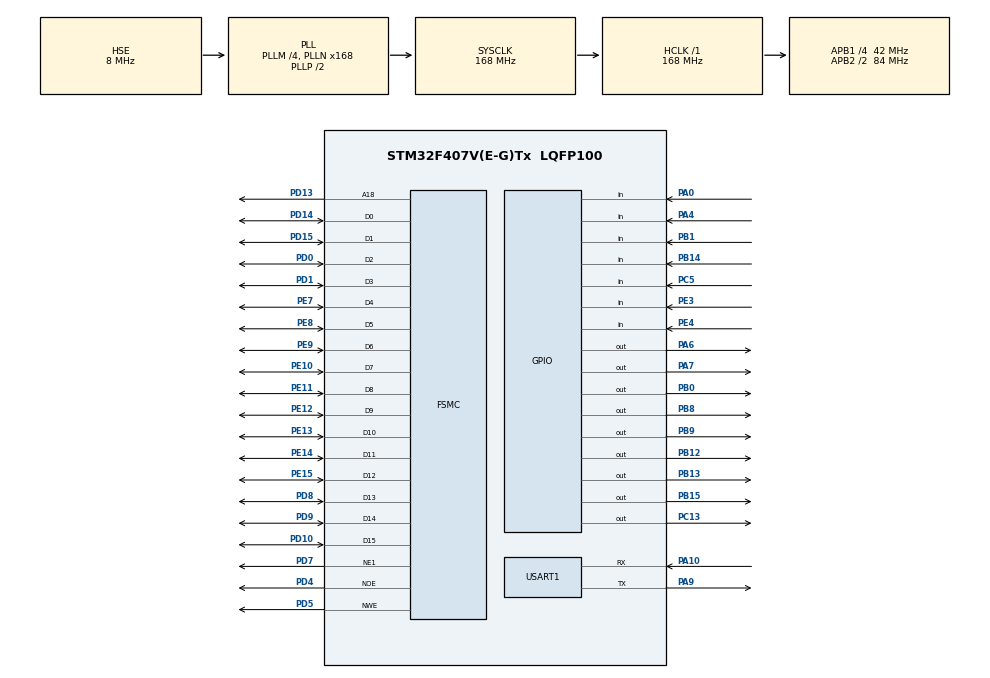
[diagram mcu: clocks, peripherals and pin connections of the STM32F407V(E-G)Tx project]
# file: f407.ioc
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FSMC.BusTurnAroundDuration1=0
FSMC.DataSetupTime1=60
FSMC.ExtendedAddressSetupTime1=9
FSMC.ExtendedBusTurnAroundDuration1=0
FSMC.ExtendedDataSetupTime1=9
FSMC.ExtendedMode1=FSMC_EXTENDED_MODE_ENABLE
Mcu.Family=STM32F4
Mcu.Name=STM32F407V(E-G)Tx
Mcu.Package=LQFP100
NVIC.PriorityGroup=NVIC_PRIORITYGROUP_4
NVIC.TIM6_DAC_IRQn=true\:0\:0\:false\:false\:true\:true\:true\:true
PA0-WKUP.Signal=GPIO_Input
PA10.Mode=Asynchronous
PA10.Signal=USART1_RX
PA13.Mode=Serial_Wire
PA13.Signal=SYS_JTMS-SWDIO
PA14.Mode=Serial_Wire
PA14.Signal=SYS_JTCK-SWCLK
PA4.Signal=GPIO_Input
PA6.Signal=GPIO_Output
PA7.Signal=GPIO_Output
PA9.Mode=Asynchronous
PA9.Signal=USART1_TX
PB0.Signal=GPIO_Output
PB1.Signal=GPIO_Input
PB12.Signal=GPIO_Output
PB13.Signal=GPIO_Output
PB14.Signal=GPIO_Input
PB15.Signal=GPIO_Output
PB8.Signal=GPIO_Output
PB9.Signal=GPIO_Output
PC13-ANTI_TAMP.Signal=GPIO_Output
PC14-OSC32_IN.Mode=LSE-External-Oscillator
PC14-OSC32_IN.Signal=RCC_OSC32_IN
PC15-OSC32_OUT.Mode=LSE-External-Oscillator
PC15-OSC32_OUT.Signal=RCC_OSC32_OUT
PC5.Signal=GPIO_Input
PD0.Mode=16b-d1
PD0.Signal=FSMC_D2
PD1.Mode=16b-d1
PD1.Signal=FSMC_D3
PD10.Mode=16b-d1
PD10.Signal=FSMC_D15
PD13.Mode=A18_1
PD13.Signal=FSMC_A18
PD14.Mode=16b-d1
PD14.Signal=FSMC_D0
PD15.Mode=16b-d1
PD15.Signal=FSMC_D1
PD4.Mode=Lcd1
PD4.Signal=FSMC_NOE
PD5.Mode=Lcd1
PD5.Signal=FSMC_NWE
PD7.Mode=NorPsramChipSelect1_1
PD7.Signal=FSMC_NE1
PD8.Mode=16b-d1
PD8.Signal=FSMC_D13
PD9.Mode=16b-d1
PD9.Signal=FSMC_D14
PE0.Signal=FSMC_NBL0
PE1.Signal=FSMC_NBL1
PE10.Mode=16b-d1
PE10.Signal=FSMC_D7
PE11.Mode=16b-d1
PE11.Signal=FSMC_D8
PE12.Mode=16b-d1
PE12.Signal=FSMC_D9
PE13.Mode=16b-d1
PE13.Signal=FSMC_D10
PE14.Mode=16b-d1
PE14.Signal=FSMC_D11
PE15.Mode=16b-d1
PE15.Signal=FSMC_D12
PE3.Signal=GPIO_Input
PE4.Signal=GPIO_Input
PE7.Mode=16b-d1
PE7.Signal=FSMC_D4
PE8.Mode=16b-d1
PE8.Signal=FSMC_D5
PE9.Mode=16b-d1
PE9.Signal=FSMC_D6
PH0-OSC_IN.Mode=HSE-External-Oscillator
PH0-OSC_IN.Signal=RCC_OSC_IN
PH1-OSC_OUT.Mode=HSE-External-Oscillator
PH1-OSC_OUT.Signal=RCC_OSC_OUT
ProjectManager.HeapSize=0x200
ProjectManager.StackSize=0x1000
ProjectManager.TargetToolchain=MDK-ARM V5.32
RCC.48MHZClocksFreq_Value=84000000
RCC.AHBFreq_Value=168000000
RCC.APB1CLKDivider=RCC_HCLK_DIV4
RCC.APB1Freq_Value=42000000
RCC.APB1TimFreq_Value=84000000
RCC.APB2CLKDivider=RCC_HCLK_DIV2
RCC.APB2Freq_Value=84000000
RCC.APB2TimFreq_Value=168000000
RCC.CortexFreq_Value=168000000
RCC.HCLKFreq_Value=168000000
RCC.HSE_VALUE=8000000
RCC.HSI_VALUE=16000000
RCC.PLLM=4
RCC.PLLN=168
RCC.PLLSourceVirtual=RCC_PLLSOURCE_HSE
RCC.SYSCLKFreq_VALUE=168000000
RCC.SYSCLKSource=RCC_SYSCLKSOURCE_PLLCLK
RCC.VCOOutputFreq_Value=336000000
TIM6.AutoReloadPreload=TIM_AUTORELOAD_PRELOAD_ENABLE
TIM6.Period=999
TIM6.Prescaler=83
USART1.VirtualMode=VM_ASYNC
VP_TIM6_VS_ClockSourceINT.Mode=Enable_Timer
board=custom

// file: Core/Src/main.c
/* USER CODE BEGIN Header */
/**
  ******************************************************************************
  * @file           : main.c
  * @brief          : Main program body
  ******************************************************************************
  * @attention
  *
  * Copyright (c) 2026 STMicroelectronics.
  * All rights reserved.
  *
  * This software is licensed under terms that can be found in the LICENSE file
  * in the root directory of this software component.
  * If no LICENSE file comes with this software, it is provided AS-IS.
  *
  ******************************************************************************
  */
/* USER CODE END Header */
#include "main.h"
#include "tim.h"
#include "usart.h"
#include "gpio.h"
#include "fsmc.h"

/* USER CODE BEGIN Includes */
#include <stdio.h>
#include "./BSP/LED/led.h"
#include "./BSP/LCD/lcd.h"
#include "./BSP/KEY/key.h"
#include "./BSP/SRAM/sram.h"
#include "./BSP/TOUCH/touch.h"
#include "./SYSTEM/delay/delay.h"
#include "./SYSTEM/usart/usart.h"
#include "lvgl.h"
#include "lv_port_disp.h"
#include "lv_port_indev.h"
#include "ui.h"
/* USER CODE END Includes */

void SystemClock_Config(void);

int main(void)
{

  /* MCU Configuration--------------------------------------------------------*/

  /* Reset of all peripherals, Initializes the Flash interface and the Systick. */
  HAL_Init();

  /* Configure the system clock */
  SystemClock_Config();

  /* Initialize all configured peripherals */
  MX_GPIO_Init();
  MX_FSMC_Init();
  MX_USART1_UART_Init();
  MX_TIM6_Init();
  /* USER CODE BEGIN 2 */
  delay_init(168000000);       /* 初始化DWT延时 */
  led_init();                  /* 初始化LED */
  //lcd_init();                  /* 初始化LCD (含FSMC) */
  key_init();                  /* 初始化按键 */
  sram_init();                 /* 初始化外部SRAM */
  //tp_init();                   /* 初始化触摸屏 */

  HAL_TIM_Base_Start_IT(&htim6);
  lv_init();
  lv_port_disp_init();
  lv_port_indev_init();
  //ui_init();

  lv_demo_widgets();

  /* USER CODE END 2 */

  /* Infinite loop */
  /* USER CODE BEGIN WHILE */
  while (1)
  {
    HAL_Delay(5);
    lv_timer_handler();
    /* USER CODE END WHILE */

  }
}

void SystemClock_Config(void)
{
  RCC_OscInitTypeDef RCC_OscInitStruct = {0};
  RCC_ClkInitTypeDef RCC_ClkInitStruct = {0};

  /** Configure the main internal regulator output voltage
  */
  __HAL_RCC_PWR_CLK_ENABLE();
  __HAL_PWR_VOLTAGESCALING_CONFIG(PWR_REGULATOR_VOLTAGE_SCALE1);

  /** Initializes the RCC Oscillators according to the specified parameters
  * in the RCC_OscInitTypeDef structure.
  */
  RCC_OscInitStruct.OscillatorType = RCC_OSCILLATORTYPE_HSE;
  RCC_OscInitStruct.HSEState = RCC_HSE_ON;
  RCC_OscInitStruct.PLL.PLLState = RCC_PLL_ON;
  RCC_OscInitStruct.PLL.PLLSource = RCC_PLLSOURCE_HSE;
  RCC_OscInitStruct.PLL.PLLM = 4;
  RCC_OscInitStruct.PLL.PLLN = 168;
  RCC_OscInitStruct.PLL.PLLP = RCC_PLLP_DIV2;
  RCC_OscInitStruct.PLL.PLLQ = 4;
  if (HAL_RCC_OscConfig(&RCC_OscInitStruct) != HAL_OK)
  {
    Error_Handler();
  }

  /** Initializes the CPU, AHB and APB buses clocks
  */
  RCC_ClkInitStruct.ClockType = RCC_CLOCKTYPE_HCLK|RCC_CLOCKTYPE_SYSCLK
                              |RCC_CLOCKTYPE_PCLK1|RCC_CLOCKTYPE_PCLK2;
  RCC_ClkInitStruct.SYSCLKSource = RCC_SYSCLKSOURCE_PLLCLK;
  RCC_ClkInitStruct.AHBCLKDivider = RCC_SYSCLK_DIV1;
  RCC_ClkInitStruct.APB1CLKDivider = RCC_HCLK_DIV4;
  RCC_ClkInitStruct.APB2CLKDivider = RCC_HCLK_DIV2;

  if (HAL_RCC_ClockConfig(&RCC_ClkInitStruct, FLASH_LATENCY_5) != HAL_OK)
  {
    Error_Handler();
  }
}

/* USER CODE BEGIN 4 */
void HAL_TIM_PeriodElapsedCallback(TIM_HandleTypeDef *htim)
{
    if (htim->Instance == TIM6) {
        lv_tick_inc(1);
    }
}
/* USER CODE END 4 */

void Error_Handler(void)
{
  __disable_irq();
  while (1)
  {
  }
}
